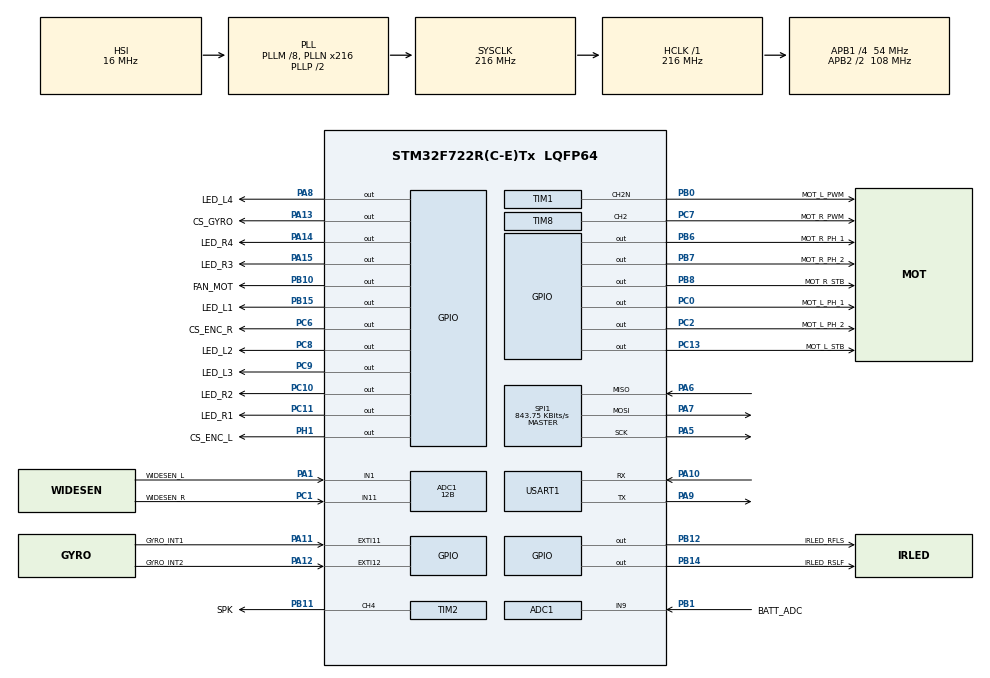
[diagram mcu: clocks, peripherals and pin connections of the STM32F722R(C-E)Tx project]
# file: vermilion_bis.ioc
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ADC1.Channel-4\#ChannelRegularConversion=ADC_CHANNEL_1
ADC1.Channel-5\#ChannelRegularConversion=ADC_CHANNEL_9
ADC1.Channel-6\#ChannelRegularConversion=ADC_CHANNEL_11
ADC1.ClockPrescaler=ADC_CLOCK_SYNC_PCLK_DIV6
ADC1.ContinuousConvMode=ENABLE
ADC1.DMAContinuousRequests=ENABLE
ADC1.DataAlign=ADC_DATAALIGN_RIGHT
ADC1.DiscontinuousConvMode=DISABLE
ADC1.EOCSelection=ADC_EOC_SINGLE_CONV
ADC1.EnableAnalogWatchDog=false
ADC1.ExternalTrigConv=ADC_SOFTWARE_START
ADC1.ExternalTrigConvEdge=ADC_EXTERNALTRIGCONVEDGE_NONE
ADC1.InjNumberOfConversion=0
ADC1.NbrOfConversion=3
ADC1.NbrOfConversionFlag=1
ADC1.Rank-4\#ChannelRegularConversion=1
ADC1.Rank-5\#ChannelRegularConversion=2
ADC1.Rank-6\#ChannelRegularConversion=3
ADC1.Resolution=ADC_RESOLUTION_12B
ADC1.SamplingTime-4\#ChannelRegularConversion=ADC_SAMPLETIME_56CYCLES
ADC1.SamplingTime-5\#ChannelRegularConversion=ADC_SAMPLETIME_56CYCLES
ADC1.SamplingTime-6\#ChannelRegularConversion=ADC_SAMPLETIME_56CYCLES
ADC1.ScanConvMode=ENABLE
ADC1.master=1
Dma.ADC1.0.Direction=DMA_PERIPH_TO_MEMORY
Dma.ADC1.0.FIFOMode=DMA_FIFOMODE_DISABLE
Dma.ADC1.0.Instance=DMA2_Stream0
Dma.ADC1.0.MemDataAlignment=DMA_MDATAALIGN_HALFWORD
Dma.ADC1.0.MemInc=DMA_MINC_ENABLE
Dma.ADC1.0.Mode=DMA_CIRCULAR
Dma.ADC1.0.PeriphDataAlignment=DMA_PDATAALIGN_HALFWORD
Dma.ADC1.0.PeriphInc=DMA_PINC_DISABLE
Dma.ADC1.0.Priority=DMA_PRIORITY_HIGH
Dma.Request0=ADC1
Mcu.Family=STM32F7
Mcu.Name=STM32F722R(C-E)Tx
Mcu.Package=LQFP64
NVIC.DMA2_Stream0_IRQn=true\:3\:0\:true\:false\:true\:false
NVIC.PriorityGroup=NVIC_PRIORITYGROUP_4
NVIC.TIM6_DAC_IRQn=true\:1\:0\:true\:false\:true\:true
NVIC.TIM7_IRQn=true\:0\:0\:false\:false\:true\:true
PA1.GPIO_Label=WIDESEN_L
PA1.Signal=ADCx_IN1
PA10.Mode=Asynchronous
PA10.Signal=USART1_RX
PA11.GPIO_Label=GYRO_INT1
PA11.GPIO_PuPd=GPIO_PULLDOWN
PA11.Signal=GPXTI11
PA12.GPIO_Label=GYRO_INT2
PA12.GPIO_PuPd=GPIO_PULLDOWN
PA12.Signal=GPXTI12
PA13.GPIO_Label=CS_GYRO
PA13.GPIO_PuPd=GPIO_PULLUP
PA13.PinState=GPIO_PIN_SET
PA13.Signal=GPIO_Output
PA14.GPIO_Label=LED_R4
PA14.Signal=GPIO_Output
PA15.GPIO_Label=LED_R3
PA15.Signal=GPIO_Output
PA5.Mode=Full_Duplex_Master
PA5.Signal=SPI1_SCK
PA6.Mode=Full_Duplex_Master
PA6.Signal=SPI1_MISO
PA7.Mode=Full_Duplex_Master
PA7.Signal=SPI1_MOSI
PA8.GPIO_Label=LED_L4
PA8.Signal=GPIO_Output
PA9.Mode=Asynchronous
PA9.Signal=USART1_TX
PB0.GPIO_Label=MOT_L_PWM
PB0.Mode=PWM Generation2 CH2N
PB0.Signal=TIM1_CH2N
PB1.GPIO_Label=BATT_ADC
PB1.Signal=ADCx_IN9
PB10.GPIO_Label=FAN_MOT
PB10.Signal=GPIO_Output
PB11.GPIO_Label=SPK
PB11.GPIO_PuPd=GPIO_NOPULL
PB11.Signal=S_TIM2_CH4
PB12.GPIO_Label=IRLED_RFLS
PB12.Signal=GPIO_Output
PB14.GPIO_Label=IRLED_RSLF
PB14.Signal=GPIO_Output
PB15.GPIO_Label=LED_L1
PB15.Signal=GPIO_Output
PB6.GPIO_Label=MOT_R_PH_1
PB6.Signal=GPIO_Output
PB7.GPIO_Label=MOT_R_PH_2
PB7.Signal=GPIO_Output
PB8.GPIO_Label=MOT_R_STB
PB8.Signal=GPIO_Output
PC0.GPIO_Label=MOT_L_PH_1
PC0.Signal=GPIO_Output
PC1.GPIO_Label=WIDESEN_R
PC1.Signal=ADCx_IN11
PC10.GPIO_Label=LED_R2
PC10.Signal=GPIO_Output
PC11.GPIO_Label=LED_R1
PC11.Signal=GPIO_Output
PC13.GPIO_Label=MOT_L_STB
PC13.Signal=GPIO_Output
PC2.GPIO_Label=MOT_L_PH_2
PC2.Signal=GPIO_Output
PC6.GPIO_Label=CS_ENC_R
PC6.GPIO_PuPd=GPIO_PULLUP
PC6.PinState=GPIO_PIN_SET
PC6.Signal=GPIO_Output
PC7.GPIO_Label=MOT_R_PWM
PC7.Signal=S_TIM8_CH2
PC8.GPIO_Label=LED_L2
PC8.Signal=GPIO_Output
PC9.GPIO_Label=LED_L3
PC9.Signal=GPIO_Output
PH1-OSC_OUT.GPIO_Label=CS_ENC_L
PH1-OSC_OUT.GPIO_PuPd=GPIO_PULLUP
PH1-OSC_OUT.PinState=GPIO_PIN_SET
PH1-OSC_OUT.Signal=GPIO_Output
ProjectManager.HeapSize=0x200
ProjectManager.StackSize=0x400
ProjectManager.TargetToolchain=TrueSTUDIO
RCC.AHBFreq_Value=216000000
RCC.APB1CLKDivider=RCC_HCLK_DIV4
RCC.APB1Freq_Value=54000000
RCC.APB1TimFreq_Value=108000000
RCC.APB2CLKDivider=RCC_HCLK_DIV2
RCC.APB2Freq_Value=108000000
RCC.APB2TimFreq_Value=216000000
RCC.CortexFreq_Value=216000000
RCC.HCLKFreq_Value=216000000
RCC.HSE_VALUE=25000000
RCC.HSI_VALUE=16000000
RCC.LSE_VALUE=32768
RCC.PLLM=8
RCC.PLLN=216
RCC.SYSCLKFreq_VALUE=216000000
RCC.SYSCLKSource=RCC_SYSCLKSOURCE_PLLCLK
RCC.USBFreq_Value=216000000
RCC.VCOOutputFreq_Value=432000000
SH.ADCx_IN1.0=ADC1_IN1,IN1
SH.ADCx_IN11.0=ADC1_IN11,IN11
SH.ADCx_IN9.0=ADC1_IN9,IN9
SH.S_TIM2_CH4.0=TIM2_CH4,PWM Generation4 CH4
SH.S_TIM8_CH2.0=TIM8_CH2,PWM Generation2 CH2
SPI1.BaudRatePrescaler=SPI_BAUDRATEPRESCALER_128
SPI1.CLKPhase=SPI_PHASE_1EDGE
SPI1.CLKPolarity=SPI_POLARITY_LOW
SPI1.CalculateBaudRate=843.75 KBits/s
SPI1.DataSize=SPI_DATASIZE_8BIT
SPI1.Direction=SPI_DIRECTION_2LINES
SPI1.Mode=SPI_MODE_MASTER
SPI1.NSSPMode=SPI_NSS_PULSE_DISABLE
SPI1.VirtualType=VM_MASTER
TIM1.Channel-PWM\ Generation2\ CH2N=TIM_CHANNEL_2
TIM1.Period=1000-1
TIM1.Prescaler=5-1
TIM2.Channel-PWM\ Generation4\ CH4=TIM_CHANNEL_4
TIM2.ClockDivision=TIM_CLOCKDIVISION_DIV1
TIM2.Period=108-1
TIM2.Prescaler=216
TIM6.AutoReloadPreload=TIM_AUTORELOAD_PRELOAD_ENABLE
TIM6.Period=500-1
TIM6.Prescaler=108-1
TIM7.Period=100
TIM7.Prescaler=108
TIM8.Channel-PWM\ Generation2\ CH2=TIM_CHANNEL_2
TIM8.Period=1000-1
TIM8.Prescaler=5-1
USART1.DMADisableonRxErrorParam=ADVFEATURE_DMA_DISABLEONRXERROR
USART1.VirtualMode-Asynchronous=VM_ASYNC
USART1.WordLength=WORDLENGTH_8B
VP_TIM6_VS_ClockSourceINT.Mode=Enable_Timer
VP_TIM7_VS_ClockSourceINT.Mode=Enable_Timer
board=vermilion_bis

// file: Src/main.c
/**
  ******************************************************************************
  * @file           : main.c
  * @brief          : Main program body
  ******************************************************************************
  ** This notice applies to any and all portions of this file
  * that are not between comment pairs USER CODE BEGIN and
  * USER CODE END. Other portions of this file, whether
  * inserted by the user or by software development tools
  * are owned by their respective copyright owners.
  *
  * COPYRIGHT(c) 2018 STMicroelectronics
  *
  * Redistribution and use in source and binary forms, with or without modification,
  * are permitted provided that the following conditions are met:
  *   1. Redistributions of source code must retain the above copyright notice,
  *      this list of conditions and the following disclaimer.
  *   2. Redistributions in binary form must reproduce the above copyright notice,
  *      this list of conditions and the following disclaimer in the documentation
  *      and/or other materials provided with the distribution.
  *   3. Neither the name of STMicroelectronics nor the names of its contributors
  *      may be used to endorse or promote products derived from this software
  *      without specific prior written permission.
  *
  * THIS SOFTWARE IS PROVIDED BY THE COPYRIGHT HOLDERS AND CONTRIBUTORS "AS IS"
  * AND ANY EXPRESS OR IMPLIED WARRANTIES, INCLUDING, BUT NOT LIMITED TO, THE
  * IMPLIED WARRANTIES OF MERCHANTABILITY AND FITNESS FOR A PARTICULAR PURPOSE ARE
  * DISCLAIMED. IN NO EVENT SHALL THE COPYRIGHT HOLDER OR CONTRIBUTORS BE LIABLE
  * FOR ANY DIRECT, INDIRECT, INCIDENTAL, SPECIAL, EXEMPLARY, OR CONSEQUENTIAL
  * DAMAGES (INCLUDING, BUT NOT LIMITED TO, PROCUREMENT OF SUBSTITUTE GOODS OR
  * SERVICES; LOSS OF USE, DATA, OR PROFITS; OR BUSINESS INTERRUPTION) HOWEVER
  * CAUSED AND ON ANY THEORY OF LIABILITY, WHETHER IN CONTRACT, STRICT LIABILITY,
  * OR TORT (INCLUDING NEGLIGENCE OR OTHERWISE) ARISING IN ANY WAY OUT OF THE USE
  * OF THIS SOFTWARE, EVEN IF ADVISED OF THE POSSIBILITY OF SUCH DAMAGE.
  *
  ******************************************************************************
  */
#include "main.h"
#include "stm32f7xx_hal.h"

/* USER CODE BEGIN Includes */
#include <math.h>
#include "misc.h"
#include "const.h"
#include "global.h"
#include "gyro.h"
#include "encorder.h"
#include "interrupt.h"
#include "motor.h"
#include "drive.h"
#include "parameter.h"
#include "define.h"
#include "menu.h"
/* USER CODE END Includes */

ADC_HandleTypeDef hadc1;
DMA_HandleTypeDef hdma_adc1;

SPI_HandleTypeDef hspi1;

TIM_HandleTypeDef htim1;
TIM_HandleTypeDef htim2;
TIM_HandleTypeDef htim6;
TIM_HandleTypeDef htim7;
TIM_HandleTypeDef htim8;

UART_HandleTypeDef huart1;

/* USER CODE BEGIN PV */
/* Private variables ---------------------------------------------------------*/
#ifdef __GNUC__
#define PUTCHAR_PROTOTYPE int __io_putchar(int ch)
#else
#define PUTCHAR_PROTOTYPE int fputc(int ch, FILE *f)
#endif /* __GNUC__ */

/* USER CODE END PV */

void SystemClock_Config(void);
static void MX_GPIO_Init(void);
static void MX_DMA_Init(void);
static void MX_ADC1_Init(void);
static void MX_SPI1_Init(void);
static void MX_TIM1_Init(void);
static void MX_TIM2_Init(void);
static void MX_TIM8_Init(void);
static void MX_USART1_UART_Init(void);
static void MX_TIM6_Init(void);
static void MX_TIM7_Init(void);

void HAL_TIM_MspPostInit(TIM_HandleTypeDef *htim);

/* USER CODE BEGIN PFP */
void __io_putchar(uint8_t ch) {
	HAL_UART_Transmit(&huart1, &ch, 1, 1);
}
/* Private function prototypes -----------------------------------------------*/

/* USER CODE END PFP */

int main(void)
{

  /* MCU Configuration----------------------------------------------------------*/

  /* Reset of all peripherals, Initializes the Flash interface and the Systick. */
  HAL_Init();

  /* Configure the system clock */
  SystemClock_Config();

  /* Initialize all configured peripherals */
  MX_GPIO_Init();
  MX_DMA_Init();
  MX_ADC1_Init();
  MX_SPI1_Init();
  MX_TIM1_Init();
  MX_TIM2_Init();
  MX_TIM8_Init();
  MX_USART1_UART_Init();
  MX_TIM6_Init();
  MX_TIM7_Init();
  /* USER CODE BEGIN 2 */
	setbuf(stdout, NULL);
	HAL_NVIC_SetPriority(SysTick_IRQn, 15, 0);
	if (HAL_ADC_Start_DMA(&hadc1, (uint32_t *) ADC_Buffer, ADC_BUFFER_LENGTH)
			!= HAL_OK) {
		_Error_Handler(__FILE__, __LINE__);
	}
	gyro_setup();
	set_parameter();
	setup_suction();
	HAL_TIM_Base_Start_IT(&htim6);
	HAL_TIM_Base_Start_IT(&htim7);

	explore_turn_R = v06d90s_R;
	explore_turn_L = v06d90s_L;

	Speaker_ON(&htim2);
	Speaker_Herz(&htim2, 1047);
	HAL_Delay(100);
	Speaker_Herz(&htim2, 2093);
	HAL_Delay(500);
	Speaker_OFF(&htim2);
	LED(0x80);
	HAL_Delay(30);
	LED(0xC0);
	HAL_Delay(30);
	LED(0xE0);
	HAL_Delay(30);
	LED(0xF0);
	HAL_Delay(30);
	LED(0xF8);
	HAL_Delay(30);
	LED(0xFC);
	HAL_Delay(30);
	LED(0xFE);
	HAL_Delay(30);
	LED(0xFF);
	HAL_Delay(500);

	LED(0x00);
	HAL_Delay(50);
	LED(0xFF);
	HAL_Delay(50);
	LED(0x00);
	HAL_Delay(50);
	LED(0xFF);
	HAL_Delay(50);
	LED(0x00);
	HAL_Delay(50);
	LED(0xFF);
	HAL_Delay(500);

	LED(0x7F);
	HAL_Delay(30);
	LED(0x3F);
	HAL_Delay(30);
	LED(0x1F);
	HAL_Delay(30);
	LED(0x0F);
	HAL_Delay(30);
	LED(0x07);
	HAL_Delay(30);
	LED(0x03);
	HAL_Delay(30);
	LED(0x01);
	HAL_Delay(30);
	LED(0x00);
	HAL_Delay(800);
	printf("%f\n", V_Batt);
	if (V_Batt < 7.7) {
		LED(0xFF);
		Speaker_Herz(&htim2, Sc_Cl);
		Speaker_ON(&htim2);
		HAL_Delay(100);
		LED(0x00);
		Speaker_OFF(&htim2);
		HAL_Delay(100);
		LED(0xFF);
		Speaker_Herz(&htim2, Sc_Cl);
		Speaker_ON(&htim2);
		HAL_Delay(100);
		LED(0x00);
		Speaker_OFF(&htim2);
		HAL_Delay(100);
		LED(0xFF);
		Speaker_Herz(&htim2, Sc_Cl);
		Speaker_ON(&htim2);
		HAL_Delay(100);
		LED(0x00);
		Speaker_OFF(&htim2);
		HAL_Delay(100);
	} else {
		Speaker_ON(&htim2);
		Speaker_Herz(&htim2, 587);
		HAL_Delay(70);
		Speaker_Herz(&htim2, 2093);
		HAL_Delay(70);
		Speaker_OFF(&htim2);

  /* USER CODE END 2 */

  /* Infinite loop */
  /* USER CODE BEGIN WHILE */

		/*ゴール座標設定*/
		Goal_X = 7;
		Goal_Y = 7;
		/*壁初期化*/
		for (int i = 0; i < 5; i++) {
			for (int j = 0; j < 3; j++) {
				ex_dir[i][j] = -1;
			}
		}

		wall_read_hor[0] = 1;

		wall_read_hor[Goal_X] = wall_read_hor[Goal_X] | 1 << Goal_Y;
		wall_read_hor[Goal_X + 1] = wall_read_hor[Goal_X + 1] | 1 << Goal_Y;
		wall_read_ver[Goal_Y] = wall_read_ver[Goal_Y] | 1 << Goal_X;
		wall_read_ver[Goal_Y + 1] = wall_read_ver[Goal_Y + 1] | 1 << Goal_X;

		wall_ver[0] = 1; //スタートの右壁を挿入
		Flag_cellfound[0][0] = true; //スタートは到達判定
		Flag_cellfound[Goal_X][Goal_Y] = true;
		Flag_cellfound[Goal_X + 1][Goal_Y] = true;
		Flag_cellfound[Goal_X][Goal_Y + 1] = true;
		Flag_cellfound[Goal_X + 1][Goal_Y + 1] = true;

		while (1) {
			if (Flag_failSafeEn) {
				disable_motor();
				disable_suction();
				LED(0xFF);
				Speaker_Herz(&htim2, Sc_Cl);
				Speaker_ON(&htim2);
				HAL_Delay(100);
				LED(0x00);
				Speaker_OFF(&htim2);
				HAL_Delay(100);
				LED(0xFF);
				Speaker_Herz(&htim2, Sc_Cl);
				Speaker_ON(&htim2);
				HAL_Delay(100);
				LED(0x00);
				Speaker_OFF(&htim2);
				HAL_Delay(100);
				LED(0xFF);
				Speaker_Herz(&htim2, Sc_Cl);
				Speaker_ON(&htim2);
				HAL_Delay(100);
				LED(0x00);
				Speaker_OFF(&htim2);
				HAL_Delay(100);
				Flag_failSafeEn = false;
			}
			current_coord_x = 0;
			current_coord_y = 0;
			Flag_diagMode = false;
			Flag_degConEn = false;
			Flag_IRLEDEn = false;
			direction = North;
			Flag_gyroEn = false;
			Flag_encEn = false;
			Flag_wallConEn_S = false;
			Flag_wallConEn_F = false;
			reset_status();
			reset_error();
			selectmenu();
  /* USER CODE END WHILE */

		}
	}

}

void SystemClock_Config(void)
{

  RCC_OscInitTypeDef RCC_OscInitStruct;
  RCC_ClkInitTypeDef RCC_ClkInitStruct;
  RCC_PeriphCLKInitTypeDef PeriphClkInitStruct;

    /**Configure the main internal regulator output voltage
    */
  __HAL_RCC_PWR_CLK_ENABLE();

  __HAL_PWR_VOLTAGESCALING_CONFIG(PWR_REGULATOR_VOLTAGE_SCALE1);

    /**Initializes the CPU, AHB and APB busses clocks
    */
  RCC_OscInitStruct.OscillatorType = RCC_OSCILLATORTYPE_HSI;
  RCC_OscInitStruct.HSIState = RCC_HSI_ON;
  RCC_OscInitStruct.HSICalibrationValue = 16;
  RCC_OscInitStruct.PLL.PLLState = RCC_PLL_ON;
  RCC_OscInitStruct.PLL.PLLSource = RCC_PLLSOURCE_HSI;
  RCC_OscInitStruct.PLL.PLLM = 8;
  RCC_OscInitStruct.PLL.PLLN = 216;
  RCC_OscInitStruct.PLL.PLLP = RCC_PLLP_DIV2;
  RCC_OscInitStruct.PLL.PLLQ = 2;
  if (HAL_RCC_OscConfig(&RCC_OscInitStruct) != HAL_OK)
  {
    _Error_Handler(__FILE__, __LINE__);
  }

    /**Activate the Over-Drive mode
    */
  if (HAL_PWREx_EnableOverDrive() != HAL_OK)
  {
    _Error_Handler(__FILE__, __LINE__);
  }

    /**Initializes the CPU, AHB and APB busses clocks
    */
  RCC_ClkInitStruct.ClockType = RCC_CLOCKTYPE_HCLK|RCC_CLOCKTYPE_SYSCLK
                              |RCC_CLOCKTYPE_PCLK1|RCC_CLOCKTYPE_PCLK2;
  RCC_ClkInitStruct.SYSCLKSource = RCC_SYSCLKSOURCE_PLLCLK;
  RCC_ClkInitStruct.AHBCLKDivider = RCC_SYSCLK_DIV1;
  RCC_ClkInitStruct.APB1CLKDivider = RCC_HCLK_DIV4;
  RCC_ClkInitStruct.APB2CLKDivider = RCC_HCLK_DIV2;

  if (HAL_RCC_ClockConfig(&RCC_ClkInitStruct, FLASH_LATENCY_7) != HAL_OK)
  {
    _Error_Handler(__FILE__, __LINE__);
  }

  PeriphClkInitStruct.PeriphClockSelection = RCC_PERIPHCLK_USART1;
  PeriphClkInitStruct.Usart1ClockSelection = RCC_USART1CLKSOURCE_PCLK2;
  if (HAL_RCCEx_PeriphCLKConfig(&PeriphClkInitStruct) != HAL_OK)
  {
    _Error_Handler(__FILE__, __LINE__);
  }

    /**Configure the Systick interrupt time
    */
  HAL_SYSTICK_Config(HAL_RCC_GetHCLKFreq()/1000);

    /**Configure the Systick
    */
  HAL_SYSTICK_CLKSourceConfig(SYSTICK_CLKSOURCE_HCLK);

  /* SysTick_IRQn interrupt configuration */
  HAL_NVIC_SetPriority(SysTick_IRQn, 0, 0);
}

/* ADC1 init function */
static void MX_ADC1_Init(void)
{

  ADC_ChannelConfTypeDef sConfig;

    /**Configure the global features of the ADC (Clock, Resolution, Data Alignment and number of conversion)
    */
  hadc1.Instance = ADC1;
  hadc1.Init.ClockPrescaler = ADC_CLOCK_SYNC_PCLK_DIV6;
  hadc1.Init.Resolution = ADC_RESOLUTION_12B;
  hadc1.Init.ScanConvMode = ENABLE;
  hadc1.Init.ContinuousConvMode = ENABLE;
  hadc1.Init.DiscontinuousConvMode = DISABLE;
  hadc1.Init.ExternalTrigConvEdge = ADC_EXTERNALTRIGCONVEDGE_NONE;
  hadc1.Init.ExternalTrigConv = ADC_SOFTWARE_START;
  hadc1.Init.DataAlign = ADC_DATAALIGN_RIGHT;
  hadc1.Init.NbrOfConversion = 3;
  hadc1.Init.DMAContinuousRequests = ENABLE;
  hadc1.Init.EOCSelection = ADC_EOC_SINGLE_CONV;
  if (HAL_ADC_Init(&hadc1) != HAL_OK)
  {
    _Error_Handler(__FILE__, __LINE__);
  }

    /**Configure for the selected ADC regular channel its corresponding rank in the sequencer and its sample time.
    */
  sConfig.Channel = ADC_CHANNEL_1;
  sConfig.Rank = ADC_REGULAR_RANK_1;
  sConfig.SamplingTime = ADC_SAMPLETIME_56CYCLES;
  if (HAL_ADC_ConfigChannel(&hadc1, &sConfig) != HAL_OK)
  {
    _Error_Handler(__FILE__, __LINE__);
  }

    /**Configure for the selected ADC regular channel its corresponding rank in the sequencer and its sample time.
    */
  sConfig.Channel = ADC_CHANNEL_9;
  sConfig.Rank = ADC_REGULAR_RANK_2;
  if (HAL_ADC_ConfigChannel(&hadc1, &sConfig) != HAL_OK)
  {
    _Error_Handler(__FILE__, __LINE__);
  }

    /**Configure for the selected ADC regular channel its corresponding rank in the sequencer and its sample time.
    */
  sConfig.Channel = ADC_CHANNEL_11;
  sConfig.Rank = ADC_REGULAR_RANK_3;
  if (HAL_ADC_ConfigChannel(&hadc1, &sConfig) != HAL_OK)
  {
    _Error_Handler(__FILE__, __LINE__);
  }

}

/* SPI1 init function */
static void MX_SPI1_Init(void)
{

  /* SPI1 parameter configuration*/
  hspi1.Instance = SPI1;
  hspi1.Init.Mode = SPI_MODE_MASTER;
  hspi1.Init.Direction = SPI_DIRECTION_2LINES;
  hspi1.Init.DataSize = SPI_DATASIZE_8BIT;
  hspi1.Init.CLKPolarity = SPI_POLARITY_LOW;
  hspi1.Init.CLKPhase = SPI_PHASE_1EDGE;
  hspi1.Init.NSS = SPI_NSS_SOFT;
  hspi1.Init.BaudRatePrescaler = SPI_BAUDRATEPRESCALER_128;
  hspi1.Init.FirstBit = SPI_FIRSTBIT_MSB;
  hspi1.Init.TIMode = SPI_TIMODE_DISABLE;
  hspi1.Init.CRCCalculation = SPI_CRCCALCULATION_DISABLE;
  hspi1.Init.CRCPolynomial = 7;
  hspi1.Init.CRCLength = SPI_CRC_LENGTH_DATASIZE;
  hspi1.Init.NSSPMode = SPI_NSS_PULSE_DISABLE;
  if (HAL_SPI_Init(&hspi1) != HAL_OK)
  {
    _Error_Handler(__FILE__, __LINE__);
  }

}

/* TIM1 init function */
static void MX_TIM1_Init(void)
{

  TIM_MasterConfigTypeDef sMasterConfig;
  TIM_OC_InitTypeDef sConfigOC;
  TIM_BreakDeadTimeConfigTypeDef sBreakDeadTimeConfig;

  htim1.Instance = TIM1;
  htim1.Init.Prescaler = 5-1;
  htim1.Init.CounterMode = TIM_COUNTERMODE_UP;
  htim1.Init.Period = 1000-1;
  htim1.Init.ClockDivision = TIM_CLOCKDIVISION_DIV1;
  htim1.Init.RepetitionCounter = 0;
  htim1.Init.AutoReloadPreload = TIM_AUTORELOAD_PRELOAD_DISABLE;
  if (HAL_TIM_PWM_Init(&htim1) != HAL_OK)
  {
    _Error_Handler(__FILE__, __LINE__);
  }

  sMasterConfig.MasterOutputTrigger = TIM_TRGO_RESET;
  sMasterConfig.MasterOutputTrigger2 = TIM_TRGO2_RESET;
  sMasterConfig.MasterSlaveMode = TIM_MASTERSLAVEMODE_DISABLE;
  if (HAL_TIMEx_MasterConfigSynchronization(&htim1, &sMasterConfig) != HAL_OK)
  {
    _Error_Handler(__FILE__, __LINE__);
  }

  sConfigOC.OCMode = TIM_OCMODE_PWM1;
  sConfigOC.Pulse = 0;
  sConfigOC.OCPolarity = TIM_OCPOLARITY_HIGH;
  sConfigOC.OCNPolarity = TIM_OCNPOLARITY_HIGH;
  sConfigOC.OCFastMode = TIM_OCFAST_DISABLE;
  sConfigOC.OCIdleState = TIM_OCIDLESTATE_RESET;
  sConfigOC.OCNIdleState = TIM_OCNIDLESTATE_RESET;
  if (HAL_TIM_PWM_ConfigChannel(&htim1, &sConfigOC, TIM_CHANNEL_2) != HAL_OK)
  {
    _Error_Handler(__FILE__, __LINE__);
  }

  sBreakDeadTimeConfig.OffStateRunMode = TIM_OSSR_DISABLE;
  sBreakDeadTimeConfig.OffStateIDLEMode = TIM_OSSI_DISABLE;
  sBreakDeadTimeConfig.LockLevel = TIM_LOCKLEVEL_OFF;
  sBreakDeadTimeConfig.DeadTime = 0;
  sBreakDeadTimeConfig.BreakState = TIM_BREAK_DISABLE;
  sBreakDeadTimeConfig.BreakPolarity = TIM_BREAKPOLARITY_HIGH;
  sBreakDeadTimeConfig.BreakFilter = 0;
  sBreakDeadTimeConfig.Break2State = TIM_BREAK2_DISABLE;
  sBreakDeadTimeConfig.Break2Polarity = TIM_BREAK2POLARITY_HIGH;
  sBreakDeadTimeConfig.Break2Filter = 0;
  sBreakDeadTimeConfig.AutomaticOutput = TIM_AUTOMATICOUTPUT_DISABLE;
  if (HAL_TIMEx_ConfigBreakDeadTime(&htim1, &sBreakDeadTimeConfig) != HAL_OK)
  {
    _Error_Handler(__FILE__, __LINE__);
  }

  HAL_TIM_MspPostInit(&htim1);

}

/* TIM2 init function */
static void MX_TIM2_Init(void)
{

  TIM_MasterConfigTypeDef sMasterConfig;
  TIM_OC_InitTypeDef sConfigOC;

  htim2.Instance = TIM2;
  htim2.Init.Prescaler = 216;
  htim2.Init.CounterMode = TIM_COUNTERMODE_UP;
  htim2.Init.Period = 108-1;
  htim2.Init.ClockDivision = TIM_CLOCKDIVISION_DIV1;
  htim2.Init.AutoReloadPreload = TIM_AUTORELOAD_PRELOAD_DISABLE;
  if (HAL_TIM_PWM_Init(&htim2) != HAL_OK)
  {
    _Error_Handler(__FILE__, __LINE__);
  }

  sMasterConfig.MasterOutputTrigger = TIM_TRGO_RESET;
  sMasterConfig.MasterSlaveMode = TIM_MASTERSLAVEMODE_DISABLE;
  if (HAL_TIMEx_MasterConfigSynchronization(&htim2, &sMasterConfig) != HAL_OK)
  {
    _Error_Handler(__FILE__, __LINE__);
  }

  sConfigOC.OCMode = TIM_OCMODE_PWM1;
  sConfigOC.Pulse = 0;
  sConfigOC.OCPolarity = TIM_OCPOLARITY_HIGH;
  sConfigOC.OCFastMode = TIM_OCFAST_DISABLE;
  if (HAL_TIM_PWM_ConfigChannel(&htim2, &sConfigOC, TIM_CHANNEL_4) != HAL_OK)
  {
    _Error_Handler(__FILE__, __LINE__);
  }

  HAL_TIM_MspPostInit(&htim2);

}

/* TIM6 init function */
static void MX_TIM6_Init(void)
{

  TIM_MasterConfigTypeDef sMasterConfig;

  htim6.Instance = TIM6;
  htim6.Init.Prescaler = 108-1;
  htim6.Init.CounterMode = TIM_COUNTERMODE_UP;
  htim6.Init.Period = 500-1;
  htim6.Init.AutoReloadPreload = TIM_AUTORELOAD_PRELOAD_ENABLE;
  if (HAL_TIM_Base_Init(&htim6) != HAL_OK)
  {
    _Error_Handler(__FILE__, __LINE__);
  }

  sMasterConfig.MasterOutputTrigger = TIM_TRGO_RESET;
  sMasterConfig.MasterSlaveMode = TIM_MASTERSLAVEMODE_DISABLE;
  if (HAL_TIMEx_MasterConfigSynchronization(&htim6, &sMasterConfig) != HAL_OK)
  {
    _Error_Handler(__FILE__, __LINE__);
  }

}

/* TIM7 init function */
static void MX_TIM7_Init(void)
{

  TIM_MasterConfigTypeDef sMasterConfig;

  htim7.Instance = TIM7;
  htim7.Init.Prescaler = 108;
  htim7.Init.CounterMode = TIM_COUNTERMODE_UP;
  htim7.Init.Period = 100;
  htim7.Init.AutoReloadPreload = TIM_AUTORELOAD_PRELOAD_DISABLE;
  if (HAL_TIM_Base_Init(&htim7) != HAL_OK)
  {
    _Error_Handler(__FILE__, __LINE__);
  }

  sMasterConfig.MasterOutputTrigger = TIM_TRGO_RESET;
  sMasterConfig.MasterSlaveMode = TIM_MASTERSLAVEMODE_DISABLE;
  if (HAL_TIMEx_MasterConfigSynchronization(&htim7, &sMasterConfig) != HAL_OK)
  {
    _Error_Handler(__FILE__, __LINE__);
  }

}

/* TIM8 init function */
static void MX_TIM8_Init(void)
{

  TIM_MasterConfigTypeDef sMasterConfig;
  TIM_OC_InitTypeDef sConfigOC;
  TIM_BreakDeadTimeConfigTypeDef sBreakDeadTimeConfig;

  htim8.Instance = TIM8;
  htim8.Init.Prescaler = 5-1;
  htim8.Init.CounterMode = TIM_COUNTERMODE_UP;
  htim8.Init.Period = 1000-1;
  htim8.Init.ClockDivision = TIM_CLOCKDIVISION_DIV1;
  htim8.Init.RepetitionCounter = 0;
  htim8.Init.AutoReloadPreload = TIM_AUTORELOAD_PRELOAD_DISABLE;
  if (HAL_TIM_PWM_Init(&htim8) != HAL_OK)
  {
    _Error_Handler(__FILE__, __LINE__);
  }

  sMasterConfig.MasterOutputTrigger = TIM_TRGO_RESET;
  sMasterConfig.MasterOutputTrigger2 = TIM_TRGO2_RESET;
  sMasterConfig.MasterSlaveMode = TIM_MASTERSLAVEMODE_DISABLE;
  if (HAL_TIMEx_MasterConfigSynchronization(&htim8, &sMasterConfig) != HAL_OK)
  {
    _Error_Handler(__FILE__, __LINE__);
  }

  sConfigOC.OCMode = TIM_OCMODE_PWM1;
  sConfigOC.Pulse = 0;
  sConfigOC.OCPolarity = TIM_OCPOLARITY_HIGH;
  sConfigOC.OCNPolarity = TIM_OCNPOLARITY_HIGH;
  sConfigOC.OCFastMode = TIM_OCFAST_DISABLE;
  sConfigOC.OCIdleState = TIM_OCIDLESTATE_RESET;
  sConfigOC.OCNIdleState = TIM_OCNIDLESTATE_RESET;
  if (HAL_TIM_PWM_ConfigChannel(&htim8, &sConfigOC, TIM_CHANNEL_2) != HAL_OK)
  {
    _Error_Handler(__FILE__, __LINE__);
  }

  sBreakDeadTimeConfig.OffStateRunMode = TIM_OSSR_DISABLE;
  sBreakDeadTimeConfig.OffStateIDLEMode = TIM_OSSI_DISABLE;
  sBreakDeadTimeConfig.LockLevel = TIM_LOCKLEVEL_OFF;
  sBreakDeadTimeConfig.DeadTime = 0;
  sBreakDeadTimeConfig.BreakState = TIM_BREAK_DISABLE;
  sBreakDeadTimeConfig.BreakPolarity = TIM_BREAKPOLARITY_HIGH;
  sBreakDeadTimeConfig.BreakFilter = 0;
  sBreakDeadTimeConfig.Break2State = TIM_BREAK2_DISABLE;
  sBreakDeadTimeConfig.Break2Polarity = TIM_BREAK2POLARITY_HIGH;
  sBreakDeadTimeConfig.Break2Filter = 0;
  sBreakDeadTimeConfig.AutomaticOutput = TIM_AUTOMATICOUTPUT_DISABLE;
  if (HAL_TIMEx_ConfigBreakDeadTime(&htim8, &sBreakDeadTimeConfig) != HAL_OK)
  {
    _Error_Handler(__FILE__, __LINE__);
  }

  HAL_TIM_MspPostInit(&htim8);

}

/* USART1 init function */
static void MX_USART1_UART_Init(void)
{

  huart1.Instance = USART1;
  huart1.Init.BaudRate = 115200;
  huart1.Init.WordLength = UART_WORDLENGTH_8B;
  huart1.Init.StopBits = UART_STOPBITS_1;
  huart1.Init.Parity = UART_PARITY_NONE;
  huart1.Init.Mode = UART_MODE_TX_RX;
  huart1.Init.HwFlowCtl = UART_HWCONTROL_NONE;
  huart1.Init.OverSampling = UART_OVERSAMPLING_16;
  huart1.Init.OneBitSampling = UART_ONE_BIT_SAMPLE_DISABLE;
  huart1.AdvancedInit.AdvFeatureInit = UART_ADVFEATURE_DMADISABLEONERROR_INIT;
  huart1.AdvancedInit.DMADisableonRxError = UART_ADVFEATURE_DMA_DISABLEONRXERROR;
  if (HAL_UART_Init(&huart1) != HAL_OK)
  {
    _Error_Handler(__FILE__, __LINE__);
  }

}

static void MX_DMA_Init(void)
{
  /* DMA controller clock enable */
  __HAL_RCC_DMA2_CLK_ENABLE();

  /* DMA interrupt init */
  /* DMA2_Stream0_IRQn interrupt configuration */
  HAL_NVIC_SetPriority(DMA2_Stream0_IRQn, 3, 0);
  HAL_NVIC_EnableIRQ(DMA2_Stream0_IRQn);

}

/** Configure pins as
        * Analog
        * Input
        * Output
        * EVENT_OUT
        * EXTI
*/
static void MX_GPIO_Init(void)
{

  GPIO_InitTypeDef GPIO_InitStruct;

  /* GPIO Ports Clock Enable */
  __HAL_RCC_GPIOC_CLK_ENABLE();
  __HAL_RCC_GPIOH_CLK_ENABLE();
  __HAL_RCC_GPIOA_CLK_ENABLE();
  __HAL_RCC_GPIOB_CLK_ENABLE();

  /*Configure GPIO pin Output Level */
  HAL_GPIO_WritePin(GPIOC, MOT_L_STB_Pin|MOT_L_PH_1_Pin|MOT_L_PH_2_Pin|LED_L2_Pin
                          |LED_L3_Pin|LED_R2_Pin|LED_R1_Pin, GPIO_PIN_RESET);

  /*Configure GPIO pin Output Level */
  HAL_GPIO_WritePin(CS_ENC_L_GPIO_Port, CS_ENC_L_Pin, GPIO_PIN_SET);

  /*Configure GPIO pin Output Level */
  HAL_GPIO_WritePin(GPIOB, FAN_MOT_Pin|IRLED_RFLS_Pin|IRLED_RSLF_Pin|LED_L1_Pin
                          |MOT_R_PH_1_Pin|MOT_R_PH_2_Pin|MOT_R_STB_Pin, GPIO_PIN_RESET);

  /*Configure GPIO pin Output Level */
  HAL_GPIO_WritePin(CS_ENC_R_GPIO_Port, CS_ENC_R_Pin, GPIO_PIN_SET);

  /*Configure GPIO pin Output Level */
  HAL_GPIO_WritePin(GPIOA, LED_L4_Pin|LED_R4_Pin|LED_R3_Pin, GPIO_PIN_RESET);

  /*Configure GPIO pin Output Level */
  HAL_GPIO_WritePin(CS_GYRO_GPIO_Port, CS_GYRO_Pin, GPIO_PIN_SET);

  /*Configure GPIO pins : MOT_L_STB_Pin MOT_L_PH_1_Pin MOT_L_PH_2_Pin LED_L2_Pin
                           LED_L3_Pin LED_R2_Pin LED_R1_Pin */
  GPIO_InitStruct.Pin = MOT_L_STB_Pin|MOT_L_PH_1_Pin|MOT_L_PH_2_Pin|LED_L2_Pin
                          |LED_L3_Pin|LED_R2_Pin|LED_R1_Pin;
  GPIO_InitStruct.Mode = GPIO_MODE_OUTPUT_PP;
  GPIO_InitStruct.Pull = GPIO_NOPULL;
  GPIO_InitStruct.Speed = GPIO_SPEED_FREQ_LOW;
  HAL_GPIO_Init(GPIOC, &GPIO_InitStruct);

  /*Configure GPIO pin : CS_ENC_L_Pin */
  GPIO_InitStruct.Pin = CS_ENC_L_Pin;
  GPIO_InitStruct.Mode = GPIO_MODE_OUTPUT_PP;
  GPIO_InitStruct.Pull = GPIO_PULLUP;
  GPIO_InitStruct.Speed = GPIO_SPEED_FREQ_LOW;
  HAL_GPIO_Init(CS_ENC_L_GPIO_Port, &GPIO_InitStruct);

  /*Configure GPIO pins : FAN_MOT_Pin IRLED_RFLS_Pin IRLED_RSLF_Pin LED_L1_Pin
                           MOT_R_PH_1_Pin MOT_R_PH_2_Pin MOT_R_STB_Pin */
  GPIO_InitStruct.Pin = FAN_MOT_Pin|IRLED_RFLS_Pin|IRLED_RSLF_Pin|LED_L1_Pin
                          |MOT_R_PH_1_Pin|MOT_R_PH_2_Pin|MOT_R_STB_Pin;
  GPIO_InitStruct.Mode = GPIO_MODE_OUTPUT_PP;
  GPIO_InitStruct.Pull = GPIO_NOPULL;
  GPIO_InitStruct.Speed = GPIO_SPEED_FREQ_LOW;
  HAL_GPIO_Init(GPIOB, &GPIO_InitStruct);

  /*Configure GPIO pin : CS_ENC_R_Pin */
  GPIO_InitStruct.Pin = CS_ENC_R_Pin;
  GPIO_InitStruct.Mode = GPIO_MODE_OUTPUT_PP;
  GPIO_InitStruct.Pull = GPIO_PULLUP;
  GPIO_InitStruct.Speed = GPIO_SPEED_FREQ_LOW;
  HAL_GPIO_Init(CS_ENC_R_GPIO_Port, &GPIO_InitStruct);

  /*Configure GPIO pins : LED_L4_Pin LED_R4_Pin LED_R3_Pin */
  GPIO_InitStruct.Pin = LED_L4_Pin|LED_R4_Pin|LED_R3_Pin;
  GPIO_InitStruct.Mode = GPIO_MODE_OUTPUT_PP;
  GPIO_InitStruct.Pull = GPIO_NOPULL;
  GPIO_InitStruct.Speed = GPIO_SPEED_FREQ_LOW;
  HAL_GPIO_Init(GPIOA, &GPIO_InitStruct);

  /*Configure GPIO pins : GYRO_INT1_Pin GYRO_INT2_Pin */
  GPIO_InitStruct.Pin = GYRO_INT1_Pin|GYRO_INT2_Pin;
  GPIO_InitStruct.Mode = GPIO_MODE_IT_RISING;
  GPIO_InitStruct.Pull = GPIO_PULLDOWN;
  HAL_GPIO_Init(GPIOA, &GPIO_InitStruct);

  /*Configure GPIO pin : CS_GYRO_Pin */
  GPIO_InitStruct.Pin = CS_GYRO_Pin;
  GPIO_InitStruct.Mode = GPIO_MODE_OUTPUT_PP;
  GPIO_InitStruct.Pull = GPIO_PULLUP;
  GPIO_InitStruct.Speed = GPIO_SPEED_FREQ_LOW;
  HAL_GPIO_Init(CS_GYRO_GPIO_Port, &GPIO_InitStruct);

}

/* USER CODE BEGIN 4 */
void HAL_ADC_ConvHalfCpltCallback(ADC_HandleTypeDef* hadc) {
	IR_Sen_raw.RSw = ADC_Buffer[2];
	IR_Sen_raw.LSw = ADC_Buffer[0];

	V_Batt = (float) ADC_Buffer[1] * 3.3 / 0.357 / 4095.0;
}
/* USER CODE END 4 */

void _Error_Handler(char *file, int line)
{
	while (1) {
	}
}

/************************ (C) COPYRIGHT STMicroelectronics *****END OF FILE****/
